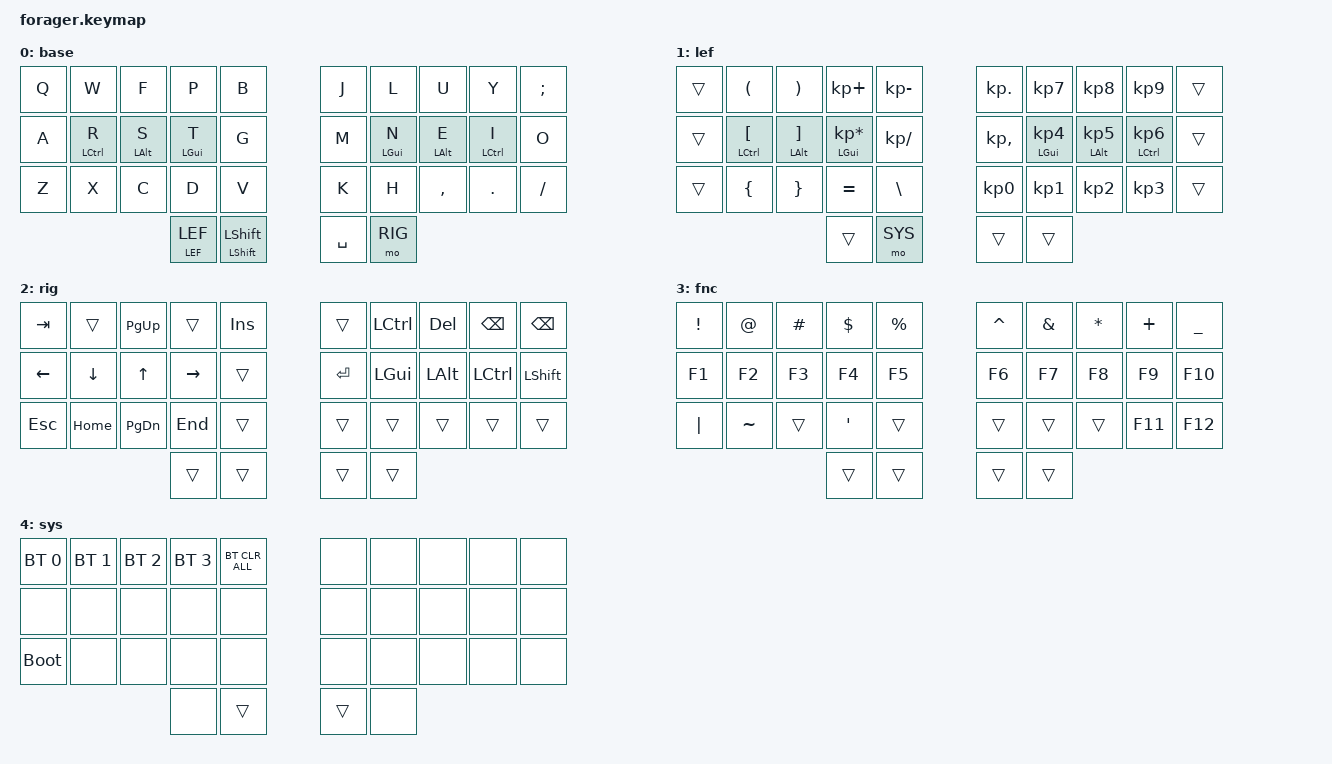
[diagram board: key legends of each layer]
#include <behaviors.dtsi>
#include <dt-bindings/zmk/keys.h>
#include <dt-bindings/zmk/bt.h>
#include <dt-bindings/zmk/outputs.h>

#define BASE 0
#define LEF	1
#define RIG	2
#define FNC	3
#define SYS	4

/ {
    behaviors {
        lhm: left_homerow_mods {
            compatible = "zmk,behavior-hold-tap";
            #binding-cells = <2>;
            flavor = "balanced";
            tapping-term-ms = <280>;
            quick-tap-ms = <175>;
            require-prior-idle-ms = <150>;
            bindings = <&kp>, <&kp>;
            hold-trigger-key-positions = <5 6 7 8 9 15 16 17 18 19 25 26 27 28 29 30 31 32 33>;
        };
        rhm: right_homerow_mods {
            compatible = "zmk,behavior-hold-tap";
            #binding-cells = <2>;
            flavor = "balanced";
            tapping-term-ms = <280>;
            quick-tap-ms = <175>;
            require-prior-idle-ms = <150>;
            bindings = <&kp>, <&kp>;
            hold-trigger-key-positions = <0 1 2 3 4 10 11 12 13 14 20 21 22 23 24 30 31 32 33>;
        };
        ssh: shift_hold_tap {
			compatible = "zmk,behavior-hold-tap";
			#binding-cells = <2>;
			tapping-term-ms = <200>;
			flavor = "balanced";
			bindings = <&sk>, <&kp>;
		};
		ohn: other_hold_tap {
			compatible = "zmk,behavior-hold-tap";
			#binding-cells = <2>;
			tapping-term-ms = <200>;
			flavor = "balanced";
			bindings = <&mo>, <&tog>;
		};
	};

    conditional_layers {
        compatible = "zmk,conditional-layers";
        tri_layer {
            if-layers = <1 2>;
            then-layer = <3>;
        };
    };

    keymap {
        compatible = "zmk,keymap";

        base {
            bindings = <
            &kp Q           &kp W           &kp F           &kp P           	&kp B                                           &kp J           &kp L           &kp U           &kp Y           &kp SEMI
            &kp A           &lhm LCTRL R    &lhm LALT S     &lhm LGUI T     	&kp G                                           &kp M           &rhm LGUI N     &rhm LALT E     &rhm LCTRL I    &kp O
            &kp Z           &kp X           &kp C           &kp D           	&kp V                                           &kp K           &kp H           &kp COMMA       &kp DOT         &kp FSLH
                                                            &ohn LEF LEF		&ssh LSHIFT LSHIFT                  			&kp SPACE       &mo RIG

            >;
        };

        lef {
            bindings = <
            &trans          &kp LPAR          		&kp RPAR          		&kp KP_PLUS          	&kp KP_MINUS            	&kp KP_DOT     		&kp KP_N7       &kp KP_N8       &kp KP_N9  	 		&trans
            &trans          &lhm LCTRL LEFT_BRACKET &lhm LALT RIGHT_BRACKET &lhm LGUI KP_MULTIPLY   &kp KP_DIVIDE           	&kp KP_COMMA   		&rhm LGUI KP_N4 &rhm LALT KP_N5 &rhm LCTRL KP_N6    &trans
            &trans          &kp LEFT_BRACE          &kp RIGHT_BRACE         &kp EQUAL          		&kp BSLH                	&kp KP_N0       	&kp KP_N1       &kp KP_N2       &kp KP_N3   		&trans
                                                                            &trans					&mo SYS     				&trans				&trans
            >;
        };

        rig {
            bindings = <
            &kp TAB         &trans          &kp PG_UP       &trans          &kp INS                                     	&trans 		    &kp LCTRL      	&kp DEL       	&kp BSPC        &kp BSPC
            &kp LEFT        &kp DOWN        &kp UP  	    &kp RIGHT       &trans                                        	&kp ENTER       &kp LGUI    	&kp LALT    	&kp LCTRL   		&kp LSHIFT 
            &kp ESC         &kp HOME		&kp PG_DN		&kp END			&trans                                    		&trans			&trans			&trans			&trans			&trans
                                                                            &trans	&trans          						&trans 		    &trans
            >;
        };

        fnc {
            bindings = <
            &kp EXCL        &kp AT          &kp HASH        &kp DOLLAR      &kp PERCENT                                     &kp CARET		&kp AMPERSAND   &kp ASTERISK    &kp PLUS  &kp UNDERSCORE
            &kp F1          &kp F2          &kp F3          &kp F4          &kp F5                                          &kp F6          &kp F7          &kp F8          &kp F9    &kp F10
            &kp PIPE     	&kp TILDE       &trans          &kp SQT         &trans                                          &trans          &trans          &trans          &kp F11   &kp F12
                                                                            &trans          &trans          &trans          &trans
            >;
        };
		
		sys {
            bindings = <
            &bt BT_SEL 0    &bt BT_SEL 1	&bt BT_SEL 2    &bt BT_SEL 3    &bt BT_CLR_ALL                                 	&none          &none          &none          &none    &none
            &none          	&none          	&none          	&none          	&none                                          	&none          &none          &none          &none    &none
            &bootloader     &none          	&none          	&none          	&none                                          	&none          &none          &none          &none    &none
                                                                            &none          	&trans          &trans          &none
            >;
        };
    };
};

&lt {
    // require-prior-idle-ms = <100>;
    tapping-term-ms = <150>;
    quick-tap-ms = <200>;
};

&mt {
    quick-tap-ms = <200>;
};

&sk {
    release-after-ms = <500>;
    quick-release;
};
